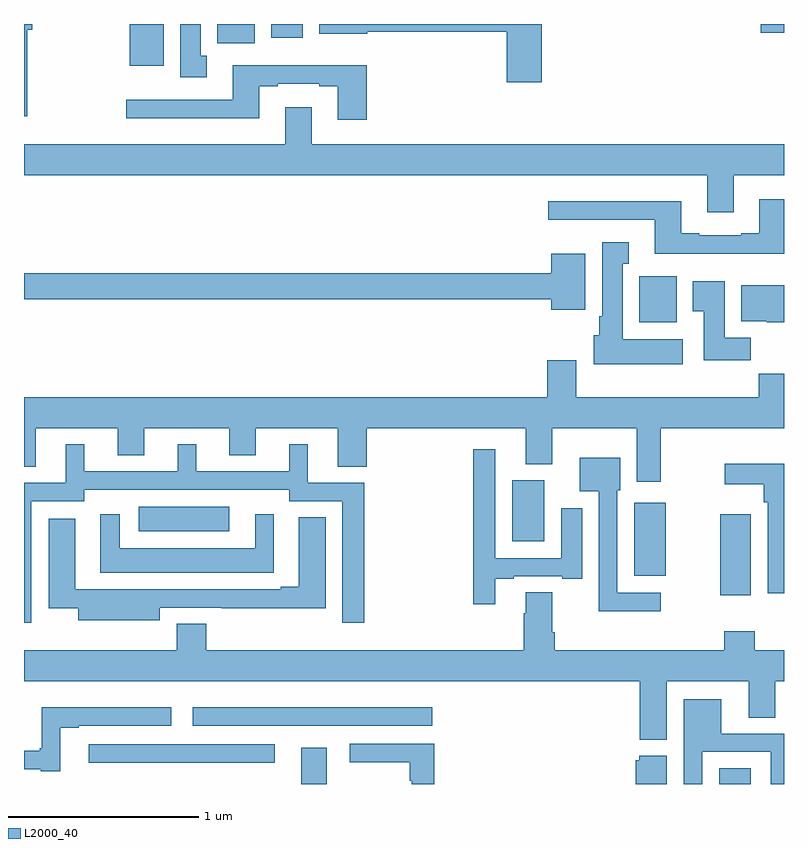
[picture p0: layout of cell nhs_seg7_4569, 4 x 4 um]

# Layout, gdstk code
import gdstk
lib = gdstk.Library(unit=1e-6, precision=1e-09)
def R(c, l, rs):  # rectangles x0, y0, x1, y1
    for r in rs: c.add(gdstk.rectangle(r[:2], r[2:], *l))
def P(c, l, *ps):  # polygons
    for p in ps: c.add(gdstk.Polygon(p, *l))
L2000_40 = (2000, 40)

nhs_seg7_4569 = lib.new_cell('nhs_seg7_4569')
R(nhs_seg7_4569, L2000_40, [(398.459,1076,398.593,1076.191), (400.658,1076,400.825,1076.084), (397.341,1076.111,398.32,1076.208), (397.887,1076.307,399.148,1076.404), (400.664,1076.994,400.825,1077.421), (400.211,1077.095,400.378,1077.481), (399.569,1077.278,399.739,1077.598), (397.605,1077.329,398.08,1077.46), (400.238,1078.43,400.435,1078.672), (397.556,1079.78,397.735,1080), (398.018,1079.9,398.215,1080), (398.3,1079.928,398.467,1080), (400.878,1079.954,401,1080)])
P(nhs_seg7_4569, L2000_40, [(397.963,1079.834),(397.93,1079.834),(397.93,1080),(397.823,1080),(397.823,1079.721),(397.963,1079.721)],
  [(397.016,1079.969),(397.043,1079.969),(397.043,1080),(397,1080),(397,1079.514),(397.016,1079.514)],
  [(399.725,1080),(398.555,1080),(398.555,1079.948),(398.806,1079.948),(398.806,1079.959),(399.542,1079.959),(399.542,1079.694),(399.725,1079.694)],
  [(398.804,1079.782),(398.099,1079.782),(398.099,1079.601),(397.539,1079.601),(397.539,1079.504),(398.239,1079.504),(398.239,1079.673),(398.335,1079.673),(398.335,1079.685),(398.555,1079.685),(398.555,1079.673),(398.651,1079.673),(398.651,1079.496),(398.804,1079.496)],
  [(400.735,1079.204),(401,1079.204),(401,1079.368),(398.515,1079.368),(398.515,1079.563),(398.375,1079.563),(398.375,1079.368),(397,1079.368),(397,1079.204),(400.595,1079.204),(400.595,1079.01),(400.735,1079.01)],
  [(401,1079.077),(400.871,1079.077),(400.871,1078.9),(400.775,1078.9),(400.775,1078.887),(400.555,1078.887),(400.555,1078.9),(400.459,1078.9),(400.459,1079.068),(399.759,1079.068),(399.759,1078.971),(400.319,1078.971),(400.319,1078.79),(401,1078.79)],
  [(400.468,1078.342),(400.15,1078.342),(400.15,1078.739),(400.183,1078.739),(400.183,1078.852),(400.043,1078.852),(400.043,1078.462),(400.028,1078.462),(400.028,1078.362),(399.998,1078.362),(399.998,1078.208),(400.468,1078.208)],
  [(399.955,1078.792),(399.776,1078.792),(399.776,1078.688),(397,1078.688),(397,1078.552),(399.776,1078.552),(399.776,1078.496),(399.955,1078.496)],
  [(400.826,1078.348),(400.687,1078.348),(400.687,1078.645),(400.52,1078.645),(400.52,1078.489),(400.577,1078.489),(400.577,1078.23),(400.826,1078.23)],
  [(401,1078.624),(400.775,1078.624),(400.775,1078.436),(400.908,1078.436),(400.908,1078.43),(401,1078.43)],
  [(400.352,1077.872),(401,1077.872),(401,1078.16),(400.867,1078.16),(400.867,1078.036),(399.907,1078.036),(399.907,1078.231),(399.755,1078.231),(399.755,1078.036),(397,1078.036),(397,1077.67),(397.063,1077.67),(397.063,1077.872),(397.493,1077.872),(397.493,1077.73),(397.633,1077.73),(397.633,1077.872),(398.081,1077.872),(398.081,1077.73),(398.221,1077.73),(398.221,1077.872),(398.651,1077.872),(398.651,1077.67),(398.804,1077.67),(398.804,1077.872),(399.641,1077.872),(399.641,1077.683),(399.781,1077.683),(399.781,1077.872),(400.226,1077.872),(400.226,1077.591),(400.352,1077.591)],
  [(397.038,1077.217),(397.039,1077.217),(397.039,1077.489),(397.317,1077.489),(397.317,1077.549),(398.397,1077.549),(398.397,1077.489),(398.676,1077.489),(398.676,1076.85),(398.792,1076.85),(398.792,1077.585),(398.494,1077.585),(398.494,1077.787),(398.396,1077.787),(398.396,1077.645),(397.906,1077.645),(397.906,1077.787),(397.808,1077.787),(397.808,1077.645),(397.318,1077.645),(397.318,1077.787),(397.22,1077.787),(397.22,1077.585),(397,1077.585),(397,1076.85),(397.038,1076.85)],
  [(399.481,1077.081),(399.577,1077.081),(399.577,1077.093),(399.833,1077.093),(399.833,1077.081),(399.937,1077.081),(399.937,1077.451),(399.827,1077.451),(399.827,1077.189),(399.48,1077.189),(399.48,1077.763),(399.364,1077.763),(399.364,1076.946),(399.481,1076.946)],
  [(400.351,1077.006),(400.122,1077.006),(400.122,1077.546),(400.138,1077.546),(400.138,1077.718),(399.926,1077.718),(399.926,1077.542),(400.026,1077.542),(400.026,1076.909),(400.351,1076.909)],
  [(401,1077.686),(400.689,1077.686),(400.689,1077.578),(400.894,1077.578),(400.894,1077.482),(400.914,1077.482),(400.914,1077.003),(401,1077.003)],
  [(398.314,1077.421),(398.216,1077.421),(398.216,1077.241),(397.504,1077.241),(397.504,1077.421),(397.4,1077.421),(397.4,1077.113),(398.314,1077.113)],
  [(397.714,1076.928),(398.041,1076.928),(398.041,1076.926),(398.587,1076.926),(398.587,1077.403),(398.447,1077.403),(398.447,1077.037),(398.351,1077.037),(398.351,1077.024),(397.61,1077.024),(397.61,1077.025),(397.27,1077.025),(397.27,1077.397),(397.13,1077.397),(397.13,1076.926),(397.286,1076.926),(397.286,1076.861),(397.714,1076.861)],
  [(400.384,1076.54),(400.814,1076.54),(400.814,1076.35),(400.954,1076.35),(400.954,1076.54),(401,1076.54),(401,1076.704),(400.845,1076.704),(400.845,1076.803),(400.685,1076.803),(400.685,1076.704),(399.794,1076.704),(399.794,1076.8),(399.781,1076.8),(399.781,1077.008),(399.641,1077.008),(399.641,1076.9),(399.629,1076.9),(399.629,1076.704),(397.958,1076.704),(397.958,1076.843),(397.805,1076.843),(397.805,1076.704),(397,1076.704),(397,1076.54),(400.241,1076.54),(400.241,1076.234),(400.384,1076.234)],
  [(400.569,1076.169),(400.929,1076.169),(400.929,1076),(401,1076),(401,1076.265),(400.669,1076.265),(400.669,1076.446),(400.473,1076.446),(400.473,1076),(400.569,1076)],
  [(397.192,1076.295),(397.288,1076.295),(397.288,1076.307),(397.774,1076.307),(397.774,1076.404),(397.094,1076.404),(397.094,1076.188),(397.083,1076.188),(397.083,1076.176),(397,1076.176),(397,1076.078),(397.088,1076.078),(397.088,1076.067),(397.192,1076.067)],
  [(399.158,1076.211),(398.715,1076.211),(398.715,1076.114),(399.03,1076.114),(399.03,1076.018),(399.042,1076.018),(399.042,1076),(399.158,1076)],
  [(400.384,1076.149),(400.239,1076.149),(400.239,1076.124),(400.22,1076.124),(400.22,1076),(400.384,1076)])

lib.write_gds('nhs_seg7_4569.gds')
